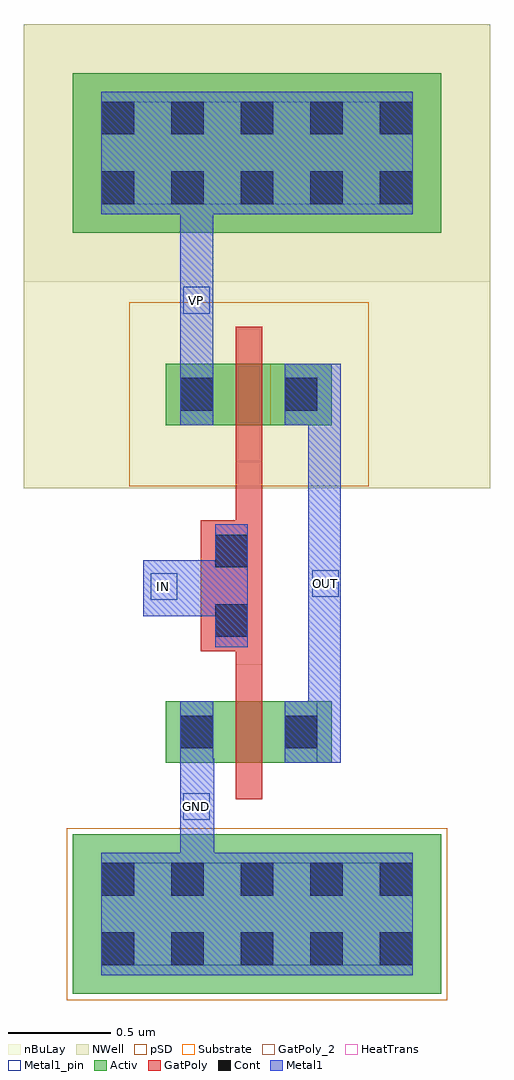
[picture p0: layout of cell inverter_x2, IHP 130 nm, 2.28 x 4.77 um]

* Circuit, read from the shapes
.subckt inverter_x2 GND IN OUT VP
XM1 OUT IN GND GND sg13_lv_nmos w=0.3u l=0.13u
XM2 OUT IN VP VP sg13_lv_pmos w=0.3u l=0.13u
.ends

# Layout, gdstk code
import gdstk
lib = gdstk.Library(unit=1e-6, precision=1e-09)
def R(c, l, rs):  # rectangles x0, y0, x1, y1
    for r in rs: c.add(gdstk.rectangle(r[:2], r[2:], *l))
def A(c, l, x, y, w, h, nx, ny, dx, dy):  # array of equal rectangles
    R(c, l, [(x+i*dx, y+j*dy, x+i*dx+w, y+j*dy+h) for i in range(nx) for j in range(ny)])
Activ = (1, 0)
GatPoly = (5, 0)
GatPoly_2 = (5, 2)
Cont = (6, 0)
Metal1 = (8, 0)
Metal1_pin = (8, 2)
pSD = (14, 0)
NWell = (31, 0)
nBuLay = (32, 0)
Substrate = (40, 0)
HeatTrans = (51, 0)

pmos = lib.new_cell('pmos')
R(pmos, Activ, [(0,0,0.81,0.3), (0,0,0.3,0.3), (0.51,0,0.81,0.3)])
R(pmos, GatPoly, [(0.34,-0.18,0.47,0.48), (0.34,-0.18,0.47,0.48)])
R(pmos, Cont, [(0.07,0.07,0.23,0.23), (0.58,0.07,0.74,0.23)])
R(pmos, Metal1, [(0.07,0,0.23,0.3), (0.07,0,0.23,0.3), (0.58,0,0.74,0.3), (0.58,0,0.74,0.3)])
R(pmos, pSD, [(-0.18,-0.3,0.99,0.6)])
R(pmos, NWell, [(-0.31,-0.31,1.12,0.61)])
R(pmos, Substrate, [(0.51,0,0.81,0.3)])
R(pmos, HeatTrans, [(0.34,-0.18,0.47,0.48)])
pmos.add(gdstk.Label('pmos', (0.405,0.15), layer=63, texttype=0))
pmos.add(gdstk.Label('pmos', (0.405,0.15), layer=51, texttype=0))

nmos = lib.new_cell('nmos')
R(nmos, Activ, [(0,0,0.81,0.3), (0,0,0.3,0.3), (0.51,0,0.81,0.3)])
R(nmos, GatPoly, [(0.34,-0.18,0.47,0.48)])
R(nmos, GatPoly_2, [(0.34,-0.18,0.47,0.48)])
R(nmos, Cont, [(0.07,0.07,0.23,0.23), (0.58,0.07,0.74,0.23)])
R(nmos, Metal1, [(0.07,0,0.23,0.3), (0.58,0,0.74,0.3)])
R(nmos, Metal1_pin, [(0.07,0,0.23,0.3), (0.58,0,0.74,0.3)])
R(nmos, HeatTrans, [(0.34,-0.18,0.47,0.48)])
nmos.add(gdstk.Label('nmos', (0.405,0.15), layer=63, texttype=0))
nmos.add(gdstk.Label('nmos', (0.405,0.15), layer=51, texttype=0))

via = lib.new_cell('Via')
R(via, GatPoly, [(-0.15,-0.32,0.15,0.32)])
R(via, Cont, [(-0.08,-0.25,0.08,-0.09), (-0.08,0.09,0.08,0.25)])
R(via, Metal1, [(-0.08,-0.3,0.08,0.3)])

inverter_x2 = lib.new_cell('inverter_x2')
A(inverter_x2, Activ, -1.06, -2.47, 0.78, 0.78, 4, 2, 0.34, 3.72)
R(inverter_x2, GatPoly, [(-0.265,-0.935,-0.135,-0.735), (-0.265,-0.155,-0.135,0.205)])
A(inverter_x2, Cont, -0.92, -2.33, 0.16, 0.16, 5, 2, 0.34, 0.34)
A(inverter_x2, Cont, -0.92, 1.39, 0.16, 0.16, 5, 2, 0.34, 0.34)
A(inverter_x2, Metal1, -0.92, -2.38, 0.5, 0.6, 4, 2, 0.34, 3.72)
R(inverter_x2, Metal1, [(-0.535,-1.885,-0.37,-1.32), (0.09,-1.34,0.25,-1.32), (0.09,-1.32,0.25,0.59), (-0.715,-0.625,-0.365,-0.35), (0.135,0.575,0.25,0.61), (-0.535,0.59,-0.375,1.58)])
A(inverter_x2, Metal1_pin, -0.92, -2.33, 0.5, 0.5, 4, 2, 0.34, 3.72)
R(inverter_x2, Metal1_pin, [(-0.52,-1.62,-0.39,-1.49), (-0.68,-0.545,-0.55,-0.415), (0.11,-0.53,0.24,-0.4), (-0.52,0.855,-0.39,0.985)])
A(inverter_x2, pSD, -1.09, -2.5, 0.84, 0.84, 4, 1, 0.34, 0)
A(inverter_x2, NWell, -1.3, 1.01, 1.26, 1.26, 4, 1, 0.34, 0)
R(inverter_x2, NWell, [(-1.3,0,0.755,2.27), (0.755,0,0.98,2.27)])
A(inverter_x2, nBuLay, -1.3, 1.01, 1.26, 1.26, 4, 1, 0.34, 0)
inverter_x2.add(gdstk.Reference(pmos, (-0.605,0.31)))
inverter_x2.add(gdstk.Reference(nmos, (-0.605,-1.34)))
inverter_x2.add(gdstk.Reference(via, (-0.285,-0.475)))
inverter_x2.add(gdstk.Label('GND', (-0.455,-1.555), layer=8, texttype=25))
inverter_x2.add(gdstk.Label('OUT', (0.175,-0.465), layer=8, texttype=25))
inverter_x2.add(gdstk.Label('VP', (-0.455,0.92), layer=8, texttype=25))
inverter_x2.add(gdstk.Label('IN', (-0.615,-0.48), layer=8, texttype=25))

lib.write_gds('inverter_x2.gds')
